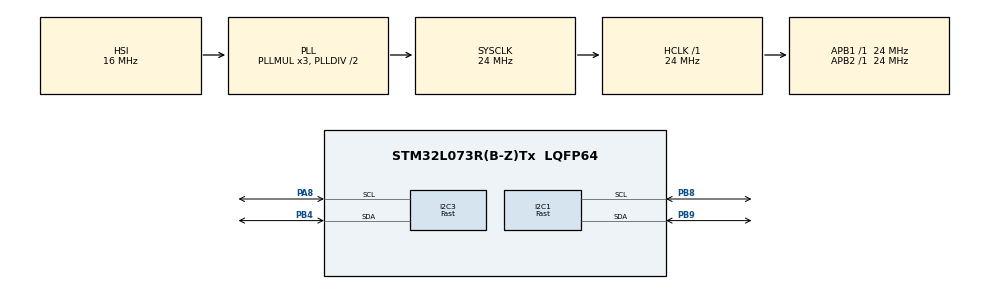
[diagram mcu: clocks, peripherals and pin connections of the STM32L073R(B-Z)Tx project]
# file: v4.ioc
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I2C1.I2C_Speed_Mode=I2C_Fast
I2C1.Timing=0x00200C28
I2C3.I2C_Speed_Mode=I2C_Fast
I2C3.Timing=0x00200C28
Mcu.Family=STM32L0
Mcu.Name=STM32L073R(B-Z)Tx
Mcu.Package=LQFP64
PA13.Mode=Serial_Wire
PA13.Signal=SYS_SWDIO
PA14.Mode=Serial_Wire
PA14.Signal=SYS_SWCLK
PA8.Mode=I2C
PA8.Signal=I2C3_SCL
PB4.Mode=I2C
PB4.Signal=I2C3_SDA
PB8.Mode=I2C
PB8.Signal=I2C1_SCL
PB9.Mode=I2C
PB9.Signal=I2C1_SDA
PC14-OSC32_IN.Mode=LSE-External-Oscillator
PC14-OSC32_IN.Signal=RCC_OSC32_IN
PC15-OSC32_OUT.Mode=LSE-External-Oscillator
PC15-OSC32_OUT.Signal=RCC_OSC32_OUT
PH0-OSC_IN.Mode=HSE-External-Clock-Source
PH0-OSC_IN.Signal=RCC_OSC_IN
ProjectManager.HeapSize=0x200
ProjectManager.StackSize=0x400
ProjectManager.TargetToolchain=MDK-ARM V5.32
RCC.AHBFreq_Value=24000000
RCC.APB1Freq_Value=24000000
RCC.APB1TimFreq_Value=24000000
RCC.APB2Freq_Value=24000000
RCC.APB2TimFreq_Value=24000000
RCC.HCLKFreq_Value=24000000
RCC.HSE_VALUE=8000000
RCC.HSI16_VALUE=16000000
RCC.HSI48_VALUE=48000000
RCC.HSI_VALUE=16000000
RCC.I2c1ClockSelection=RCC_I2C1CLKSOURCE_SYSCLK
RCC.MSI_VALUE=2097000
RCC.SYSCLKFreq_VALUE=24000000
RCC.SYSCLKSource=RCC_SYSCLKSOURCE_PLLCLK
RCC.VCOOutputFreq_Value=48000000
TIM6.Prescaler=489
VP_TIM6_VS_ClockSourceINT.Mode=Enable_Timer
board=NUCLEO-L073RZ

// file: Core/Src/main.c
/* USER CODE BEGIN Header */
/**
  ******************************************************************************
  * @file           : main.c
  * @brief          : Main program body
  ******************************************************************************
  * @attention
  *
  * Copyright (c) 2024 STMicroelectronics.
  * All rights reserved.
  *
  * This software is licensed under terms that can be found in the LICENSE file
  * in the root directory of this software component.
  * If no LICENSE file comes with this software, it is provided AS-IS.
  *
  ******************************************************************************
  */
/* USER CODE END Header */
#include "main.h"

/* USER CODE BEGIN Includes */
#include "BMP180.h"
#include "stdio.h"
#include "fonts.h"
#include "ssd1306.h"
#include <stdio.h>
#include <stdint.h>
#include <stdbool.h>
/* USER CODE END Includes */

I2C_HandleTypeDef hi2c1;
I2C_HandleTypeDef hi2c3;

TIM_HandleTypeDef htim6;

void SystemClock_Config(void);
static void MX_GPIO_Init(void);
static void MX_I2C1_Init(void);
static void MX_I2C3_Init(void);
static void MX_TIM6_Init(void);

/* USER CODE BEGIN 0 */

float Pressure_bar = 0;
float Pressure_hpa = 0;
float Temperature = 0;
float sum_Pressure_bar = 0;
float sum_Pressure_hpa = 0;
int num_readings = 0;
#define AVERAGE_READINGS 20

void getPress() {
    Temperature = BMP180_GetTemp();
    Pressure_bar = BMP180_GetPress(0) / 100000;
    Pressure_hpa = BMP180_GetPress(0) / 100;
    sum_Pressure_bar += Pressure_bar;
    sum_Pressure_hpa += Pressure_hpa;
    num_readings++;

    if (num_readings >= AVERAGE_READINGS) { // Define AVERAGE_READINGS as the number of readings to average over
        float avg_Pressure_bar = sum_Pressure_bar / num_readings;
        float avg_Pressure_hpa = sum_Pressure_hpa / num_readings;

        if (avg_Pressure_bar < 0.9) {
            SSD1306_Fill(SSD1306_COLOR_BLACK);
            SSD1306_GotoXY(0, 0);
            SSD1306_Puts("Min", &Font_11x18, 1);
            SSD1306_UpdateScreen(); // Display
            HAL_Delay(5000);
        } else if (avg_Pressure_bar > 1.1) {
            SSD1306_Fill(SSD1306_COLOR_BLACK);
            SSD1306_GotoXY(0, 0);
            SSD1306_Puts("Max", &Font_11x18, 1);
            SSD1306_UpdateScreen(); // Display
            HAL_Delay(5000);
        } else {
            SSD1306_Fill(SSD1306_COLOR_BLACK);
            char slegis_bar[200];
            snprintf(slegis_bar, sizeof(slegis_bar), "%.3f bar", avg_Pressure_bar);
            SSD1306_GotoXY(0, 0);
            SSD1306_Puts(slegis_bar, &Font_11x18, 1);
            char slegis_hpa[200];
            snprintf(slegis_hpa, sizeof(slegis_hpa), "%.3f hPa", avg_Pressure_hpa);
            SSD1306_GotoXY(0, 30);
            SSD1306_Puts(slegis_hpa, &Font_11x18, 1);
            SSD1306_UpdateScreen(); // Display
            HAL_Delay(5000);
        }

        // Reset variables for next set of readings
        sum_Pressure_bar = 0;
        sum_Pressure_hpa = 0;
        num_readings = 0;
    }
}

/* USER CODE END 0 */

int main(void)
{

  /* MCU Configuration--------------------------------------------------------*/

  /* Reset of all peripherals, Initializes the Flash interface and the Systick. */
  HAL_Init();

  /* Configure the system clock */
  SystemClock_Config();

  /* Initialize all configured peripherals */
  MX_GPIO_Init();
  MX_I2C1_Init();
  MX_I2C3_Init();
  MX_TIM6_Init();
  /* USER CODE BEGIN 2 */
	BMP180_Start();
	SSD1306_Init();  // initialise

  /* USER CODE END 2 */

  /* Infinite loop */
  while (1)
  {

    /* USER CODE BEGIN 3 */
		getPress();

  }
  /* USER CODE END 3 */
}

void SystemClock_Config(void)
{
  RCC_OscInitTypeDef RCC_OscInitStruct = {0};
  RCC_ClkInitTypeDef RCC_ClkInitStruct = {0};
  RCC_PeriphCLKInitTypeDef PeriphClkInit = {0};

  /** Configure the main internal regulator output voltage
  */
  __HAL_PWR_VOLTAGESCALING_CONFIG(PWR_REGULATOR_VOLTAGE_SCALE1);

  /** Initializes the RCC Oscillators according to the specified parameters
  * in the RCC_OscInitTypeDef structure.
  */
  RCC_OscInitStruct.OscillatorType = RCC_OSCILLATORTYPE_HSI;
  RCC_OscInitStruct.HSIState = RCC_HSI_ON;
  RCC_OscInitStruct.HSICalibrationValue = RCC_HSICALIBRATION_DEFAULT;
  RCC_OscInitStruct.PLL.PLLState = RCC_PLL_ON;
  RCC_OscInitStruct.PLL.PLLSource = RCC_PLLSOURCE_HSI;
  RCC_OscInitStruct.PLL.PLLMUL = RCC_PLLMUL_3;
  RCC_OscInitStruct.PLL.PLLDIV = RCC_PLLDIV_2;
  if (HAL_RCC_OscConfig(&RCC_OscInitStruct) != HAL_OK)
  {
    Error_Handler();
  }

  /** Initializes the CPU, AHB and APB buses clocks
  */
  RCC_ClkInitStruct.ClockType = RCC_CLOCKTYPE_HCLK|RCC_CLOCKTYPE_SYSCLK
                              |RCC_CLOCKTYPE_PCLK1|RCC_CLOCKTYPE_PCLK2;
  RCC_ClkInitStruct.SYSCLKSource = RCC_SYSCLKSOURCE_PLLCLK;
  RCC_ClkInitStruct.AHBCLKDivider = RCC_SYSCLK_DIV1;
  RCC_ClkInitStruct.APB1CLKDivider = RCC_HCLK_DIV1;
  RCC_ClkInitStruct.APB2CLKDivider = RCC_HCLK_DIV1;

  if (HAL_RCC_ClockConfig(&RCC_ClkInitStruct, FLASH_LATENCY_1) != HAL_OK)
  {
    Error_Handler();
  }
  PeriphClkInit.PeriphClockSelection = RCC_PERIPHCLK_I2C1|RCC_PERIPHCLK_I2C3;
  PeriphClkInit.I2c1ClockSelection = RCC_I2C1CLKSOURCE_SYSCLK;
  PeriphClkInit.I2c3ClockSelection = RCC_I2C3CLKSOURCE_PCLK1;
  if (HAL_RCCEx_PeriphCLKConfig(&PeriphClkInit) != HAL_OK)
  {
    Error_Handler();
  }
}

static void MX_I2C1_Init(void)
{

  hi2c1.Instance = I2C1;
  hi2c1.Init.Timing = 0x00200C28;
  hi2c1.Init.OwnAddress1 = 0;
  hi2c1.Init.AddressingMode = I2C_ADDRESSINGMODE_7BIT;
  hi2c1.Init.DualAddressMode = I2C_DUALADDRESS_DISABLE;
  hi2c1.Init.OwnAddress2 = 0;
  hi2c1.Init.OwnAddress2Masks = I2C_OA2_NOMASK;
  hi2c1.Init.GeneralCallMode = I2C_GENERALCALL_DISABLE;
  hi2c1.Init.NoStretchMode = I2C_NOSTRETCH_DISABLE;
  if (HAL_I2C_Init(&hi2c1) != HAL_OK)
  {
    Error_Handler();
  }

  /** Configure Analogue filter
  */
  if (HAL_I2CEx_ConfigAnalogFilter(&hi2c1, I2C_ANALOGFILTER_ENABLE) != HAL_OK)
  {
    Error_Handler();
  }

  /** Configure Digital filter
  */
  if (HAL_I2CEx_ConfigDigitalFilter(&hi2c1, 0) != HAL_OK)
  {
    Error_Handler();
  }

}

static void MX_I2C3_Init(void)
{

  hi2c3.Instance = I2C3;
  hi2c3.Init.Timing = 0x00200C28;
  hi2c3.Init.OwnAddress1 = 0;
  hi2c3.Init.AddressingMode = I2C_ADDRESSINGMODE_7BIT;
  hi2c3.Init.DualAddressMode = I2C_DUALADDRESS_DISABLE;
  hi2c3.Init.OwnAddress2 = 0;
  hi2c3.Init.OwnAddress2Masks = I2C_OA2_NOMASK;
  hi2c3.Init.GeneralCallMode = I2C_GENERALCALL_DISABLE;
  hi2c3.Init.NoStretchMode = I2C_NOSTRETCH_DISABLE;
  if (HAL_I2C_Init(&hi2c3) != HAL_OK)
  {
    Error_Handler();
  }

  /** Configure Analogue filter
  */
  if (HAL_I2CEx_ConfigAnalogFilter(&hi2c3, I2C_ANALOGFILTER_ENABLE) != HAL_OK)
  {
    Error_Handler();
  }

  /** Configure Digital filter
  */
  if (HAL_I2CEx_ConfigDigitalFilter(&hi2c3, 0) != HAL_OK)
  {
    Error_Handler();
  }

}

static void MX_TIM6_Init(void)
{

  TIM_MasterConfigTypeDef sMasterConfig = {0};

  htim6.Instance = TIM6;
  htim6.Init.Prescaler = 489;
  htim6.Init.CounterMode = TIM_COUNTERMODE_UP;
  htim6.Init.Period = 65535;
  htim6.Init.AutoReloadPreload = TIM_AUTORELOAD_PRELOAD_DISABLE;
  if (HAL_TIM_Base_Init(&htim6) != HAL_OK)
  {
    Error_Handler();
  }
  sMasterConfig.MasterOutputTrigger = TIM_TRGO_RESET;
  sMasterConfig.MasterSlaveMode = TIM_MASTERSLAVEMODE_DISABLE;
  if (HAL_TIMEx_MasterConfigSynchronization(&htim6, &sMasterConfig) != HAL_OK)
  {
    Error_Handler();
  }

}

static void MX_GPIO_Init(void)
{

  /* GPIO Ports Clock Enable */
  __HAL_RCC_GPIOC_CLK_ENABLE();
  __HAL_RCC_GPIOH_CLK_ENABLE();
  __HAL_RCC_GPIOA_CLK_ENABLE();
  __HAL_RCC_GPIOB_CLK_ENABLE();

}

void Error_Handler(void)
{
  __disable_irq();
  while (1)
  {
  }
}
